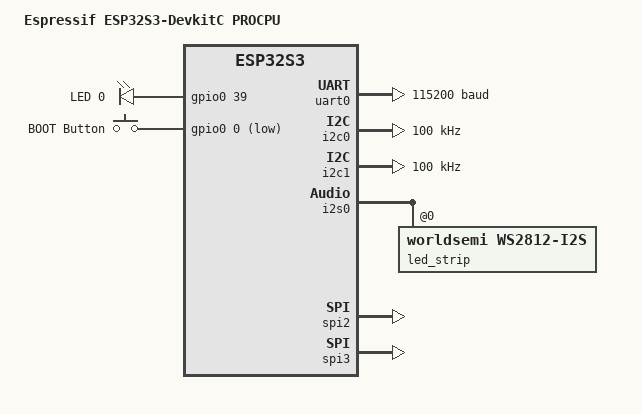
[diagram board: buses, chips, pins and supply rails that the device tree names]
/*
 * Copyright (c) 2024 Espressif Systems (Shanghai) Co., Ltd.
 *
 * SPDX-License-Identifier: Apache-2.0
 */
/dts-v1/;

// #include <espressif/esp32s3/esp32s3_mini_n4r2.dtsi>
#include <espressif/esp32s3/esp32s3_wroom_n4.dtsi>
#include <zephyr/dt-bindings/input/input-event-codes.h>
// #include <zephyr/dt-bindings/input/esp32-touch-sensor-input.h>

// #include <espressif/partitions_0x1000_default_2M.dtsi>
// #include <espressif/partitions_0x0_amp_4M.dtsi>
#include <espressif/partitions_0x0_amp_4M.dtsi>
#include "esp32s3_supermini-pinctrl.dtsi"

#include <zephyr/dt-bindings/led/led.h>


/ {
	model = "Espressif ESP32S3-DevkitC PROCPU";
	compatible = "espressif,esp32s3";

	aliases {
		i2c-0 = &i2c0;
		led-strip = &led_strip;
		watchdog0 = &wdt0;
		led0 = &led0;
	};

	chosen {
		zephyr,sram = &sram1;
		zephyr,console = &uart0;
		zephyr,shell-uart = &uart0;
		zephyr,flash = &flash0;
		zephyr,code-partition = &slot0_partition;
		zephyr,bt-hci = &esp32_bt_hci;
	};

	aliases {
		uart-0 = &uart0;
		sw0 = &button0;
	};

	leds {
		compatible = "gpio-leds";
		led0: led_0 {
			gpios = <&gpio0 39 GPIO_ACTIVE_HIGH>;
			label = "LED 0";
		};
	};

	buttons {
		compatible = "gpio-keys";
		button0: button_0 {
			gpios = <&gpio0 0 (GPIO_PULL_UP | GPIO_ACTIVE_LOW)>;
			label = "BOOT Button";
			zephyr,code = <INPUT_KEY_0>;
		};
	};
};

&usb_serial {
	status = "disabled";
};

&uart0 {
	status = "okay";
	current-speed = <115200>;
	pinctrl-0 = <&uart0_default>;
	pinctrl-names = "default";
};

&gpio0 {
	status = "okay";
};

&gpio1 {
	status = "okay";
};

// &touch {
// 	debounce-interval-ms = <30>;
// 	href-microvolt = <2700000>;
// 	lref-microvolt = <500000>;
// 	href-atten-microvolt = <1000000>;
// 	filter-mode = <ESP32_TOUCH_FILTER_MODE_IIR_16>;
// 	filter-debounce-cnt = <1>;
// 	filter-noise-thr = <ESP32_TOUCH_FILTER_NOISE_THR_4_8TH>;
// 	filter-jitter-step = <4>;
// 	filter-smooth-level = <ESP32_TOUCH_FILTER_SMOOTH_MODE_IIR_2>;
// };

&i2c0 {
	clock-frequency = <I2C_BITRATE_STANDARD>;
	pinctrl-0 = <&i2c0_default>;
	pinctrl-names = "default";
};

&i2c1 {
	clock-frequency = <I2C_BITRATE_STANDARD>;
	pinctrl-0 = <&i2c1_default>;
	pinctrl-names = "default";
};

&i2s0 {
	pinctrl-0 = <&i2s0_default>;
	pinctrl-names = "default";
	status = "okay";
};

// &i2s1 {
// 	pinctrl-0 = <&i2s1_default>;
// 	pinctrl-names = "default";
// 	status = "disabled";
// };

&spi2 {
	#address-cells = <1>;
	#size-cells = <0>;
	status = "okay";
	pinctrl-0 = <&spim2_default>;
	pinctrl-names = "default";
};

&spi3 {
	#address-cells = <1>;
	#size-cells = <0>;
	status = "okay";
	pinctrl-0 = <&spim3_default>;
	pinctrl-names = "default";
};

&twai {
	pinctrl-0 = <&twai_default>;
	pinctrl-names = "default";
};

&timer0 {
	status = "disabled";
};

&timer1 {
	status = "disabled";
};

&timer2 {
	status = "disabled";
};

&timer3 {
	status = "disabled";
};

&i2s0_default {
	group1 {
		pinmux = <I2S0_O_SD_GPIO38>;
		output-enable;
	};
};

i2s_led: &i2s0 {
	status = "okay";

	dmas = <&dma 3>;
	dma-names = "tx";

	led_strip: ws2812@0 {
		compatible = "worldsemi,ws2812-i2s";

		reg = <0>;
		chain-length = <30>;
		color-mapping = <LED_COLOR_ID_GREEN
				 LED_COLOR_ID_RED
				 LED_COLOR_ID_BLUE>;
		reset-delay = <500>;
	};
};

&dma {
	status = "okay";
};

// &wdt0 {
// 	status = "okay";
// };

// &trng0 {
// 	status = "okay";
// };

// &esp32_bt_hci {
// 	status = "okay";
// };

// &wifi {
// 	status = "okay";
// };
